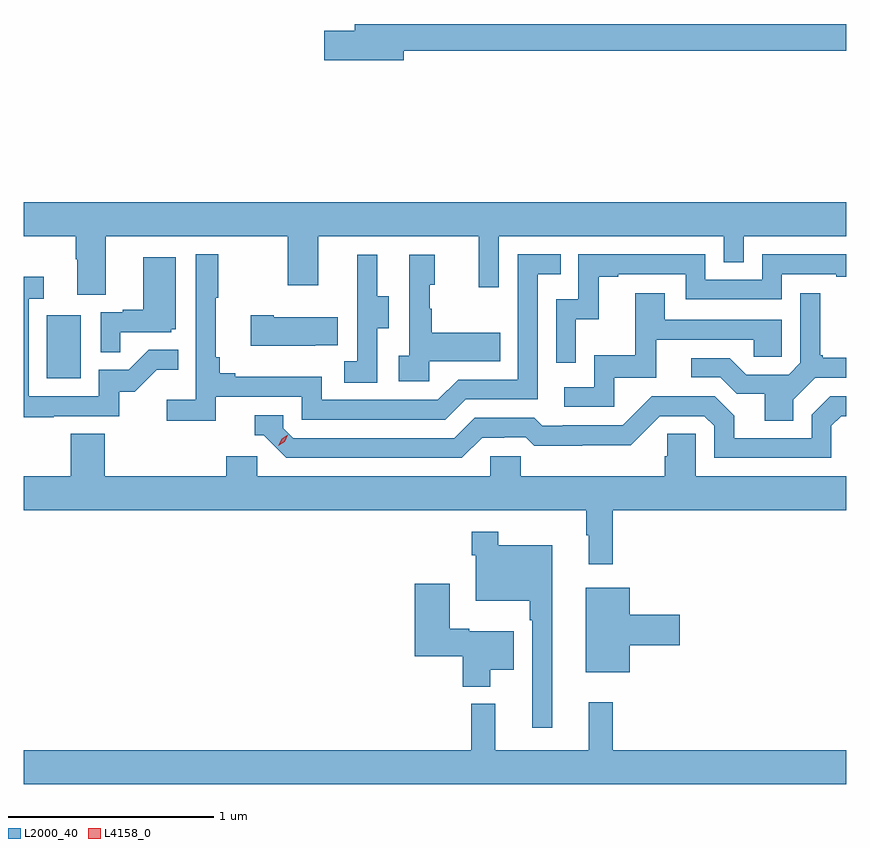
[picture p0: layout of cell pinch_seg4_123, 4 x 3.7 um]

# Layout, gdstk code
import gdstk
lib = gdstk.Library(unit=1e-6, precision=1e-09)
def R(c, l, rs):  # rectangles x0, y0, x1, y1
    for r in rs: c.add(gdstk.rectangle(r[:2], r[2:], *l))
def P(c, l, *ps):  # polygons
    for p in ps: c.add(gdstk.Polygon(p, *l))
L2000_40 = (2000, 40)
L4158_0 = (4158, 0)

pinch_seg4_123 = lib.new_cell('pinch_seg4_123')
R(pinch_seg4_123, L2000_40, [(1018.91,797.46,1019.074,797.767)])
P(pinch_seg4_123, L2000_40, [(1020.646,799.054),(1022.797,799.054),(1022.797,799.183),(1020.407,799.183),(1020.407,799.149),(1020.258,799.149),(1020.258,799.007),(1020.646,799.007)],
  [(1019.197,798.152),(1020.082,798.152),(1020.082,797.913),(1020.229,797.913),(1020.229,798.152),(1021.01,798.152),(1021.01,797.904),(1021.107,797.904),(1021.107,798.152),(1022.202,798.152),(1022.202,798.025),(1022.298,798.025),(1022.298,798.152),(1022.797,798.152),(1022.797,798.316),(1018.797,798.316),(1018.797,798.152),(1019.05,798.152),(1019.05,798.04),(1019.057,798.04),(1019.057,797.866),(1019.197,797.866)],
  [(1019.732,797.37),(1020.15,797.37),(1020.15,797.259),(1020.847,797.259),(1020.946,797.358),(1021.296,797.358),(1021.296,797.967),(1021.409,797.967),(1021.409,798.063),(1021.2,798.063),(1021.2,797.454),(1020.909,797.454),(1020.81,797.355),(1020.246,797.355),(1020.246,797.467),(1019.827,797.467),(1019.827,797.486),(1019.75,797.486),(1019.75,797.563),(1019.731,797.563),(1019.731,797.851),(1019.743,797.851),(1019.743,798.064),(1019.634,798.064),(1019.634,797.356),(1019.493,797.356),(1019.493,797.254),(1019.732,797.254)],
  [(1021.482,797.747),(1021.592,797.747),(1021.592,797.955),(1021.687,797.955),(1021.687,797.967),(1022.016,797.967),(1022.016,797.844),(1022.484,797.844),(1022.484,797.967),(1022.747,797.967),(1022.747,797.955),(1022.797,797.955),(1022.797,798.063),(1022.388,798.063),(1022.388,797.94),(1022.112,797.94),(1022.112,798.063),(1021.494,798.063),(1021.494,797.844),(1021.386,797.844),(1021.386,797.535),(1021.482,797.535)],
  [(1020.768,797.543),(1021.115,797.543),(1021.115,797.683),(1020.781,797.683),(1020.781,797.798),(1020.771,797.798),(1020.771,797.916),(1020.796,797.916),(1020.796,798.061),(1020.672,798.061),(1020.672,797.57),(1020.621,797.57),(1020.621,797.445),(1020.768,797.445)],
  [(1020.516,797.704),(1020.571,797.704),(1020.571,797.859),(1020.517,797.859),(1020.517,798.061),(1020.419,798.061),(1020.419,797.847),(1020.42,797.847),(1020.42,797.543),(1020.357,797.543),(1020.357,797.44),(1020.516,797.44)],
  [(1019.267,797.685),(1019.514,797.685),(1019.514,797.7),(1019.536,797.7),(1019.536,798.049),(1019.378,798.049),(1019.378,797.794),(1019.279,797.794),(1019.279,797.781),(1019.172,797.781),(1019.172,797.587),(1019.267,797.587)],
  [(1018.943,797.277),(1019.262,797.277),(1019.262,797.394),(1019.338,797.394),(1019.445,797.501),(1019.549,797.501),(1019.549,797.6),(1019.405,797.6),(1019.307,797.502),(1019.163,797.502),(1019.163,797.373),(1018.821,797.373),(1018.821,797.847),(1018.894,797.847),(1018.894,797.953),(1018.797,797.953),(1018.797,797.272),(1018.943,797.272)],
  [(1022.539,797.356),(1022.646,797.463),(1022.797,797.463),(1022.797,797.56),(1022.683,797.56),(1022.683,797.572),(1022.671,797.572),(1022.671,797.875),(1022.574,797.875),(1022.574,797.535),(1022.517,797.478),(1022.311,797.478),(1022.23,797.559),(1022.043,797.559),(1022.043,797.466),(1022.184,797.466),(1022.264,797.386),(1022.399,797.386),(1022.399,797.254),(1022.539,797.254)],
  [(1021.668,797.463),(1021.873,797.463),(1021.873,797.649),(1022.347,797.649),(1022.347,797.565),(1022.484,797.565),(1022.484,797.745),(1021.915,797.745),(1021.915,797.875),(1021.771,797.875),(1021.771,797.572),(1021.572,797.572),(1021.572,797.418),(1021.425,797.418),(1021.425,797.322),(1021.668,797.322)],
  [(1020.215,797.621),(1020.323,797.621),(1020.323,797.758),(1020.013,797.758),(1020.013,797.766),(1019.901,797.766),(1019.901,797.618),(1020.215,797.618)],
  [(1021.027,797.172),(1021.134,797.172),(1021.134,797.175),(1021.237,797.175),(1021.279,797.133),(1021.512,797.133),(1021.512,797.135),(1021.748,797.135),(1021.89,797.277),(1022.106,797.277),(1022.154,797.229),(1022.154,797.073),(1022.724,797.073),(1022.724,797.229),(1022.772,797.277),(1022.797,797.277),(1022.797,797.373),(1022.718,797.373),(1022.628,797.283),(1022.628,797.169),(1022.251,797.169),(1022.251,797.279),(1022.157,797.373),(1021.851,797.373),(1021.71,797.232),(1021.417,797.232),(1021.417,797.229),(1021.318,797.229),(1021.279,797.268),(1020.99,797.268),(1020.891,797.169),(1020.108,797.169),(1020.06,797.217),(1020.06,797.28),(1019.921,797.28),(1019.921,797.184),(1019.964,797.184),(1020.075,797.073),(1020.928,797.073)],
  [(1021.661,796.82),(1022.797,796.82),(1022.797,796.984),(1022.064,796.984),(1022.064,797.192),(1021.927,797.192),(1021.927,797.082),(1021.913,797.082),(1021.913,796.984),(1021.215,796.984),(1021.215,797.082),(1021.065,797.082),(1021.065,796.984),(1019.934,796.984),(1019.934,797.082),(1019.783,797.082),(1019.783,796.984),(1019.192,796.984),(1019.192,797.192),(1019.027,797.192),(1019.027,796.984),(1018.797,796.984),(1018.797,796.82),(1021.533,796.82),(1021.533,796.697),(1021.544,796.697),(1021.544,796.557),(1021.661,796.557)],
  [(1021.366,796.648),(1021.105,796.648),(1021.105,796.714),(1020.976,796.714),(1020.976,796.601),(1020.996,796.601),(1020.996,796.379),(1021.257,796.379),(1021.257,796.283),(1021.269,796.283),(1021.269,795.762),(1021.366,795.762)],
  [(1021.066,796.043),(1021.18,796.043),(1021.18,796.231),(1020.964,796.231),(1020.964,796.244),(1020.868,796.244),(1020.868,796.462),(1020.698,796.462),(1020.698,796.109),(1020.932,796.109),(1020.932,795.962),(1021.066,795.962)],
  [(1021.744,796.163),(1021.987,796.163),(1021.987,796.31),(1021.744,796.31),(1021.744,796.441),(1021.529,796.441),(1021.529,796.031),(1021.744,796.031)],
  [(1022.797,795.652),(1021.661,795.652),(1021.661,795.886),(1021.544,795.886),(1021.544,795.652),(1021.091,795.652),(1021.091,795.877),(1020.973,795.877),(1020.973,795.652),(1018.797,795.652),(1018.797,795.488),(1022.797,795.488)])
P(pinch_seg4_123, L4158_0, [(1020.035,797.133),(1020.035,797.133),(1020.051,797.166),(1020.082,797.185),(1020.082,797.185),(1020.082,797.185),(1020.066,797.152),(1020.035,797.133)])

lib.write_gds('pinch_seg4_123.gds')
